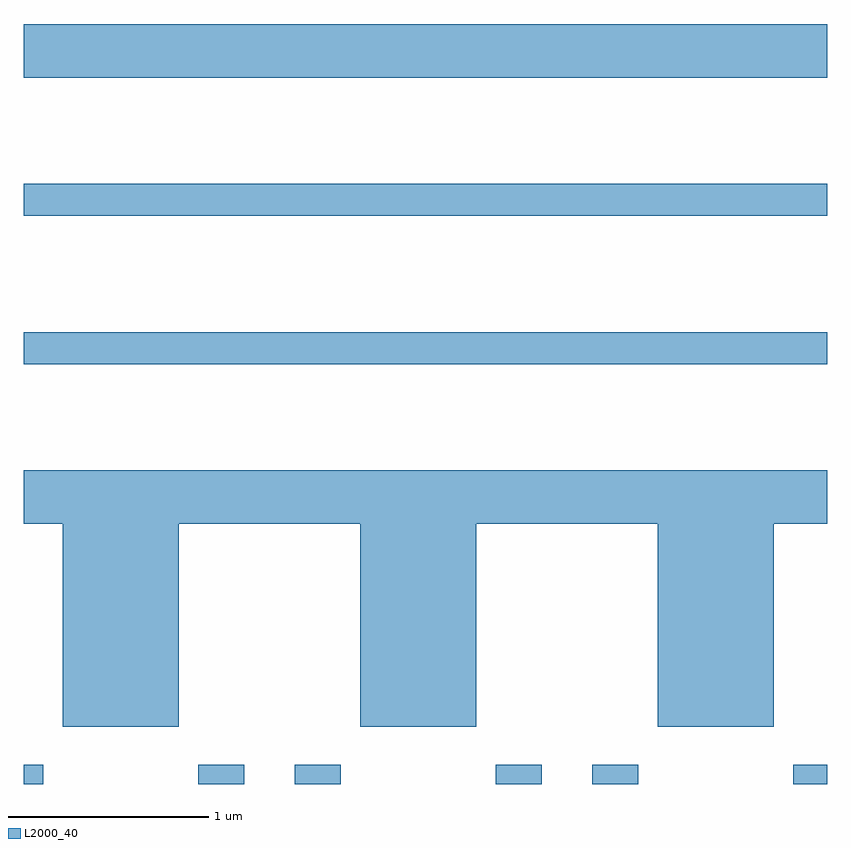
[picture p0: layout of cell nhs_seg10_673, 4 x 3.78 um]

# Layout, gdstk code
import gdstk
lib = gdstk.Library(unit=1e-6, precision=1e-09)
def R(c, l, rs):  # rectangles x0, y0, x1, y1
    for r in rs: c.add(gdstk.rectangle(r[:2], r[2:], *l))
def P(c, l, *ps):  # polygons
    for p in ps: c.add(gdstk.Polygon(p, *l))
L2000_40 = (2000, 40)

nhs_seg10_673 = lib.new_cell('nhs_seg10_673')
R(nhs_seg10_673, L2000_40, [(203.611,2212.522,203.709,2212.619), (204.481,2212.522,204.709,2212.619), (204.961,2212.522,205.189,2212.619), (205.961,2212.522,206.189,2212.619), (206.441,2212.522,206.669,2212.619), (207.441,2212.522,207.611,2212.619), (203.611,2214.611,207.611,2214.769), (203.611,2215.351,207.611,2215.509), (203.611,2216.036,207.611,2216.304)])
P(nhs_seg10_673, L2000_40, [(204.384,2213.816),(205.286,2213.816),(205.286,2212.806),(205.864,2212.806),(205.864,2213.816),(206.766,2213.816),(206.766,2212.806),(207.344,2212.806),(207.344,2213.816),(207.611,2213.816),(207.611,2214.084),(203.611,2214.084),(203.611,2213.816),(203.806,2213.816),(203.806,2212.806),(204.384,2212.806)])

lib.write_gds('nhs_seg10_673.gds')
